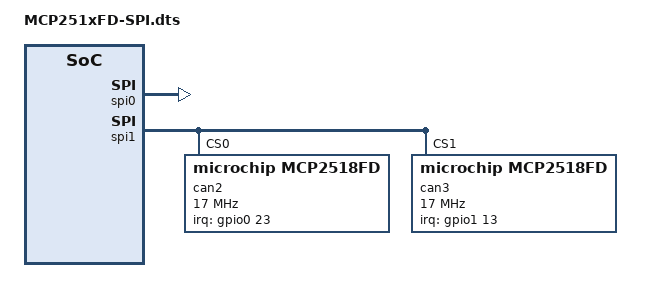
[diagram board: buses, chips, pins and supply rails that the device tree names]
/* MCP251xFD SPI Device Tree Overlay
 * Originals Copyright (C) 2024 Colorado State University
 *
 * This program is free software; you can redistribute it and/or modify
 * it under the terms of the GNU General Public License version 2 as
 * published by the Free Software Foundation.
 */

/dts-v1/;
/plugin/;
/ {
    compatible = "ti,beaglebone", "ti,beaglebone-black"; // Compatible devices
    exclusive-use = "P9.31", "P9.29", "P9.30", "P9.28", "P8.13", "gpio0_23"; // Pins used for SPI1 and GPIO interrupt
    fragment@0 {
        target = <&spi0>;
        __overlay__ {
            status = "okay";
            #address-cells = <1>;
            #size-cells = <0>;
            spidev@0 {
                status = "disabled";
                reg = <0>;
            };
        };
    };
    fragment@1 {
        target = <&spi1>;
        __overlay__ {
            status = "okay";
            #address-cells = <1>;
            #size-cells = <0>;
            spidev@1 {
                status = "disabled";
                reg = <1>;
            };
        };
    };

    fragment@2 {
        target = <&am33xx_pinmux>;
        __overlay__ {
            spi1_pins: pinmux_spi1_pins {
                pinctrl-single,pins = <
                    0x190 0x33  /* P9.31 (SPI1_SCLK) | MODE3 | pullup I guess bc internet says so??? */
                    0x194 0x33  /* P9.29 (SPI1_D0)   | MODE3 | RXACTIVE */
                    0x198 0x13  /* P9.30 (SPI1_D1)   | MODE3 */
                >;
            };

            can2_cs: pinmux_can2_cs {
                pinctrl-single,pins = <
                    0x19c 0x13  /* P9.28 (SPI1_CS0)  | MODE3 */
                >;
            };

            can2_int: pinmux_can2_int {
                pinctrl-single,pins = <
                    0x024 0x37  /* P8.13 (GPIO0_23)  | MODE7 | RXACTIVE */
                >;
            };

            can3_cs: pinmux_can3_cs {
                pinctrl-single,pins = <
                    0x164 0x12  /* P9.42 (SPI1_CS1) | MODE 2 */
                >;
            };

            can3_int: pinmux_can3_int {
                pinctrl-single,pins = <
                    0x034 0x37  /* P8.11 (GPIO0_45)  | MODE7 | RXACTIVE */
                >;
            };
        };
    };
    fragment@3 {
        target-path = "/"; // Target the root path
        __overlay__ {
            mcp2518fd_clock: mcp2518fd_clock {
                compatible = "fixed-clock"; // Define a fixed clock
                #clock-cells = <0>; // No additional clock cells
                clock-frequency = <40000000>; // 40 MHz clock for MCP2518FD
            };
        };
    };

    fragment@4 {
        target = <&spi1>; // Target the SPI1 controller
        __overlay__ {
            status = "okay";
            #address-cells = <1>;
            #size-cells = <0>;
            can2: can2@0 {
                compatible = "microchip,mcp2518fd";
                reg = <0>;
                pinctrl-names = "default";
                pinctrl-0 = <&can2_cs &can2_int>;
                spi-max-frequency = <17000000>;
                interrupt-parent = <&gpio0>;
                interrupts = <23 0x2>;
                clocks = <&mcp2518fd_clock>;
                //ti,pindir-d0-out-d1-in = <1>;
                mcp251xfd,oscillator-frequency = <40000000>; // 40 MHz oscillator frequency
                mcp251xfd,irq-gpios = <&gpio0 23 0>; // GPIO0_23 for interrupt, active low
                mcp251xfd,stay-awake = <1>; // Keep MCP2518FD awake
                mcp251xfd,enable-clkout = <1>; // Enable clock output
            };

            can3: can3@1 {
                compatible = "microchip,mcp2518fd";
                reg = <1>;
                pinctrl-names = "default";
                pinctrl-0 = <&spi1_pins &can3_cs &can3_int>;
                spi-max-frequency = <17000000>;
                interrupt-parent = <&gpio1>;
                interrupts = <13 0x2>;
                clocks = <&mcp2518fd_clock>;
                //ti,pindir-d0-out-d1-in = <1>;
                mcp251xfd,oscillator-frequency = <40000000>; // 40 MHz oscillator frequency
                mcp251xfd,irq-gpios = <&gpio1 13 0>; // GPIO0_23 for interrupt, active low
                mcp251xfd,stay-awake = <1>; // Keep MCP2518FD awake
                mcp251xfd,enable-clkout = <1>; // Enable clock output
            };
        };
    };
    __overrides__ {
        oscillator = <&mcp2518fd_clock>,"clock-frequency:0"; // Override for clock frequency
        spimaxfrequency = <&can2 &can3>,"spi-max-frequency:0"; // Override for SPI max frequency
        interrupt = <&can2_int>, <&can3_int>,"pinctrl-single,pins:0", <&can2>, <&can3>,"interrupts:0"; // Override for interrupt pin and type
    };
};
